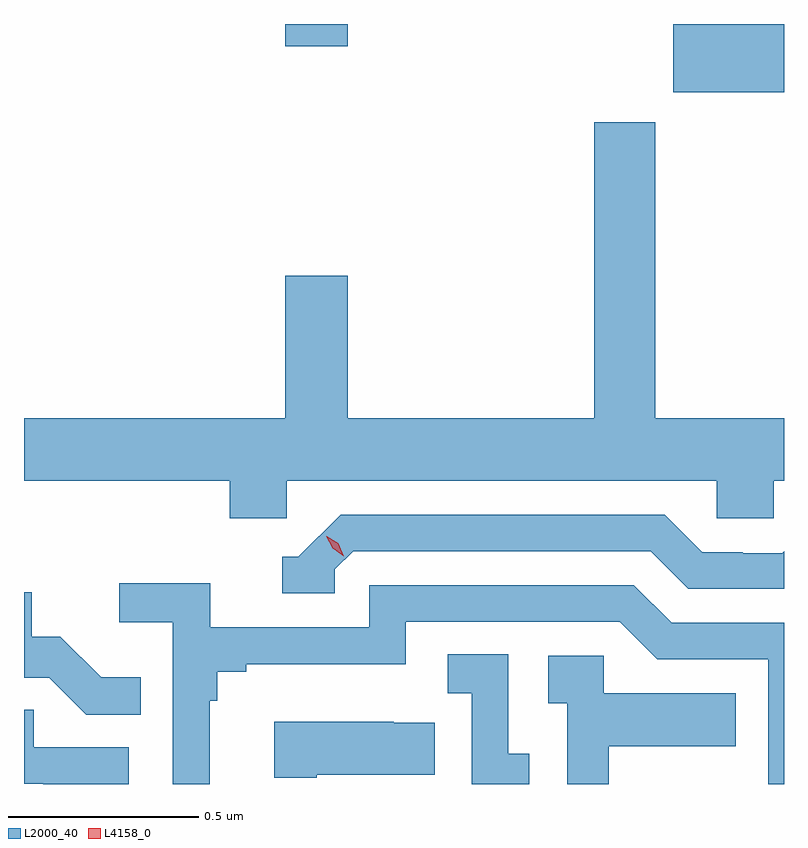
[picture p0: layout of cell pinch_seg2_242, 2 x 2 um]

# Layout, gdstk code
import gdstk
lib = gdstk.Library(unit=1e-6, precision=1e-09)
def R(c, l, rs):  # rectangles x0, y0, x1, y1
    for r in rs: c.add(gdstk.rectangle(r[:2], r[2:], *l))
def P(c, l, *ps):  # polygons
    for p in ps: c.add(gdstk.Polygon(p, *l))
L2000_40 = (2000, 40)
L4158_0 = (4158, 0)

pinch_seg2_242 = lib.new_cell('pinch_seg2_242')
R(pinch_seg2_242, L2000_40, [(933.26,651.323,933.552,651.502), (932.24,651.444,932.404,651.502)])
P(pinch_seg2_242, L2000_40, [(932.244,650.3),(933.375,650.3),(933.375,650.202),(933.525,650.202),(933.525,650.3),(933.552,650.3),(933.552,650.464),(933.213,650.464),(933.213,651.244),(933.053,651.244),(933.053,650.464),(932.404,650.464),(932.404,650.839),(932.24,650.839),(932.24,650.464),(931.552,650.464),(931.552,650.3),(932.093,650.3),(932.093,650.202),(932.244,650.202)],
  [(932.37,650.067),(932.418,650.115),(933.201,650.115),(933.3,650.016),(933.552,650.016),(933.552,650.114),(933.547,650.109),(933.444,650.109),(933.444,650.112),(933.337,650.112),(933.238,650.211),(932.385,650.211),(932.274,650.1),(932.231,650.1),(932.231,650.004),(932.37,650.004)],
  [(932.041,649.721),(932.06,649.721),(932.06,649.798),(932.137,649.798),(932.137,649.817),(932.556,649.817),(932.556,649.929),(933.12,649.929),(933.219,649.83),(933.51,649.83),(933.51,649.502),(933.552,649.502),(933.552,649.926),(933.256,649.926),(933.157,650.025),(932.46,650.025),(932.46,649.914),(932.042,649.914),(932.042,650.03),(931.803,650.03),(931.803,649.928),(931.944,649.928),(931.944,649.502),(932.041,649.502)],
  [(931.859,649.783),(931.755,649.783),(931.648,649.89),(931.572,649.89),(931.572,650.007),(931.552,650.007),(931.552,649.782),(931.618,649.782),(931.716,649.684),(931.859,649.684)],
  [(932.881,649.581),(932.826,649.581),(932.826,649.844),(932.667,649.844),(932.667,649.741),(932.73,649.741),(932.73,649.502),(932.881,649.502)],
  [(933.091,649.601),(933.425,649.601),(933.425,649.741),(933.078,649.741),(933.078,649.839),(932.931,649.839),(932.931,649.715),(932.982,649.715),(932.982,649.502),(933.091,649.502)],
  [(931.828,649.599),(931.577,649.599),(931.577,649.697),(931.552,649.697),(931.552,649.503),(931.603,649.503),(931.603,649.502),(931.828,649.502)],
  [(932.323,649.526),(932.633,649.526),(932.633,649.663),(932.525,649.663),(932.525,649.666),(932.211,649.666),(932.211,649.519),(932.323,649.519)])
P(pinch_seg2_242, L4158_0, [(932.394,650.102),(932.364,650.122),(932.348,650.154),(932.348,650.154),(932.349,650.154),(932.379,650.135),(932.394,650.102),(932.394,650.102)])

lib.write_gds('pinch_seg2_242.gds')
